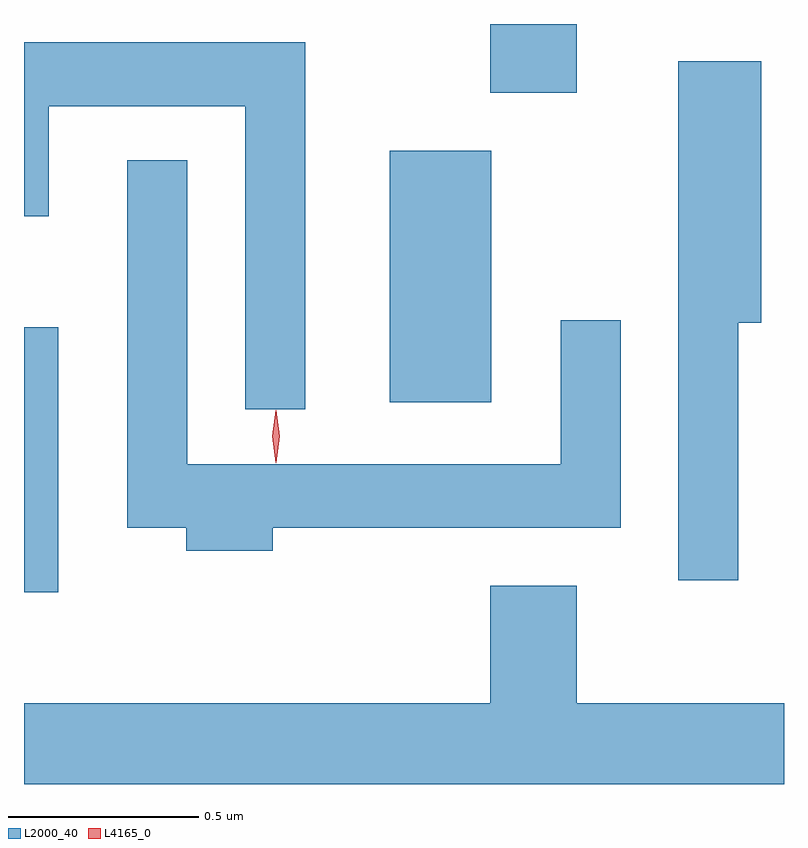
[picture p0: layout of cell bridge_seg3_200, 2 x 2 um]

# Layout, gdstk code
import gdstk
lib = gdstk.Library(unit=1e-6, precision=1e-09)
def R(c, l, rs):  # rectangles x0, y0, x1, y1
    for r in rs: c.add(gdstk.rectangle(r[:2], r[2:], *l))
def P(c, l, *ps):  # polygons
    for p in ps: c.add(gdstk.Polygon(p, *l))
L2000_40 = (2000, 40)
L4165_0 = (4165, 0)

bridge_seg3_200 = lib.new_cell('bridge_seg3_200')
R(bridge_seg3_200, L2000_40, [(910.264,1184.296,910.354,1184.994), (911.226,1184.796,911.494,1185.459), (911.491,1185.611,911.719,1185.792)])
P(bridge_seg3_200, L2000_40, [(911.004,1185.744),(910.264,1185.744),(910.264,1185.286),(910.329,1185.286),(910.329,1185.576),(910.846,1185.576),(910.846,1184.778),(911.004,1184.778)],
  [(912.144,1185.006),(912.204,1185.006),(912.204,1185.694),(911.986,1185.694),(911.986,1184.328),(912.144,1184.328)],
  [(910.919,1184.466),(911.834,1184.466),(911.834,1185.013),(911.676,1185.013),(911.676,1184.634),(910.694,1184.634),(910.694,1185.433),(910.536,1185.433),(910.536,1184.466),(910.691,1184.466),(910.691,1184.406),(910.919,1184.406)],
  [(912.264,1184.004),(911.719,1184.004),(911.719,1184.314),(911.491,1184.314),(911.491,1184.004),(910.264,1184.004),(910.264,1183.792),(912.264,1183.792)])
P(bridge_seg3_200, L4165_0, [(910.927,1184.637),(910.927,1184.638),(910.917,1184.707),(910.927,1184.776),(910.927,1184.776),(910.928,1184.776),(910.937,1184.707),(910.928,1184.638)])

lib.write_gds('bridge_seg3_200.gds')
